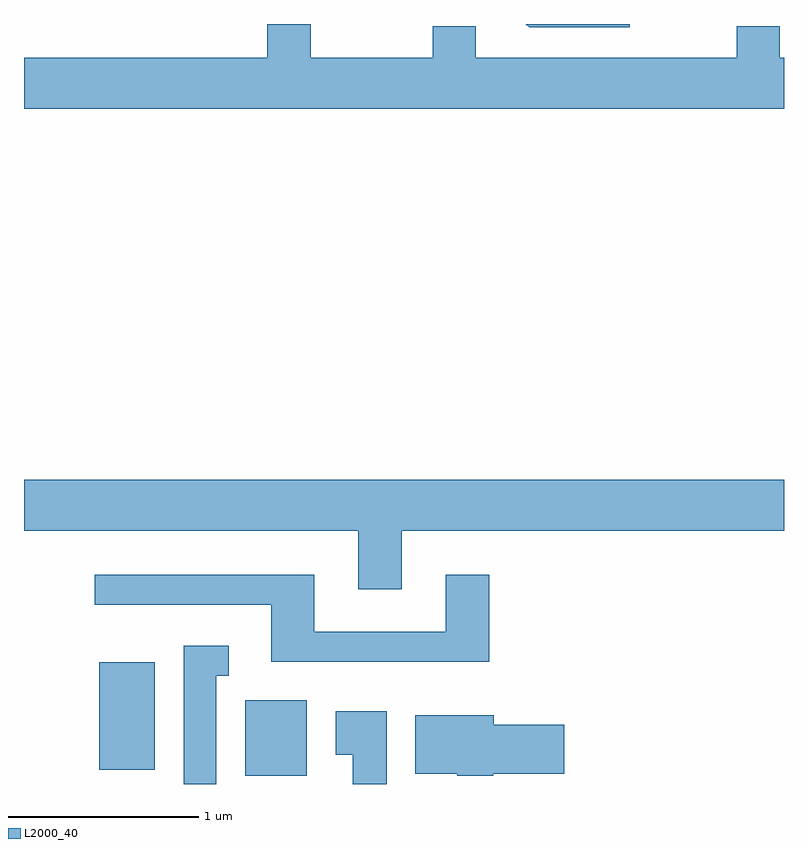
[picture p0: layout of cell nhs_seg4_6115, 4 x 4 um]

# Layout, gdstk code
import gdstk
lib = gdstk.Library(unit=1e-6, precision=1e-09)
def R(c, l, rs):  # rectangles x0, y0, x1, y1
    for r in rs: c.add(gdstk.rectangle(r[:2], r[2:], *l))
def P(c, l, *ps):  # polygons
    for p in ps: c.add(gdstk.Polygon(p, *l))
L2000_40 = (2000, 40)

nhs_seg4_6115 = lib.new_cell('nhs_seg4_6115')
R(nhs_seg4_6115, L2000_40, [(364.776,1380.026,365.099,1380.424), (364.006,1380.056,364.299,1380.624)])
P(nhs_seg4_6115, L2000_40, [(367.611,1383.804),(367.589,1383.804),(367.589,1383.969),(367.361,1383.969),(367.361,1383.804),(365.989,1383.804),(365.989,1383.969),(365.761,1383.969),(365.761,1383.804),(365.119,1383.804),(365.119,1383.982),(364.891,1383.982),(364.891,1383.804),(363.611,1383.804),(363.611,1383.536),(367.611,1383.536)],
  [(366.798,1383.982),(366.253,1383.982),(366.269,1383.966),(366.798,1383.966)],
  [(365.599,1381.316),(367.611,1381.316),(367.611,1381.584),(363.611,1381.584),(363.611,1381.316),(365.371,1381.316),(365.371,1381.006),(365.599,1381.006)],
  [(366.059,1381.084),(365.831,1381.084),(365.831,1380.784),(365.139,1380.784),(365.139,1381.084),(363.983,1381.084),(363.983,1380.926),(364.911,1380.926),(364.911,1380.626),(366.059,1380.626)],
  [(364.624,1380.551),(364.688,1380.551),(364.688,1380.709),(364.451,1380.709),(364.451,1379.982),(364.624,1379.982)],
  [(365.519,1380.364),(365.251,1380.364),(365.251,1380.136),(365.341,1380.136),(365.341,1379.982),(365.519,1379.982)],
  [(366.08,1380.036),(366.454,1380.036),(366.454,1380.294),(366.084,1380.294),(366.084,1380.344),(365.671,1380.344),(365.671,1380.036),(365.89,1380.036),(365.89,1380.026),(366.08,1380.026)])

lib.write_gds('nhs_seg4_6115.gds')
